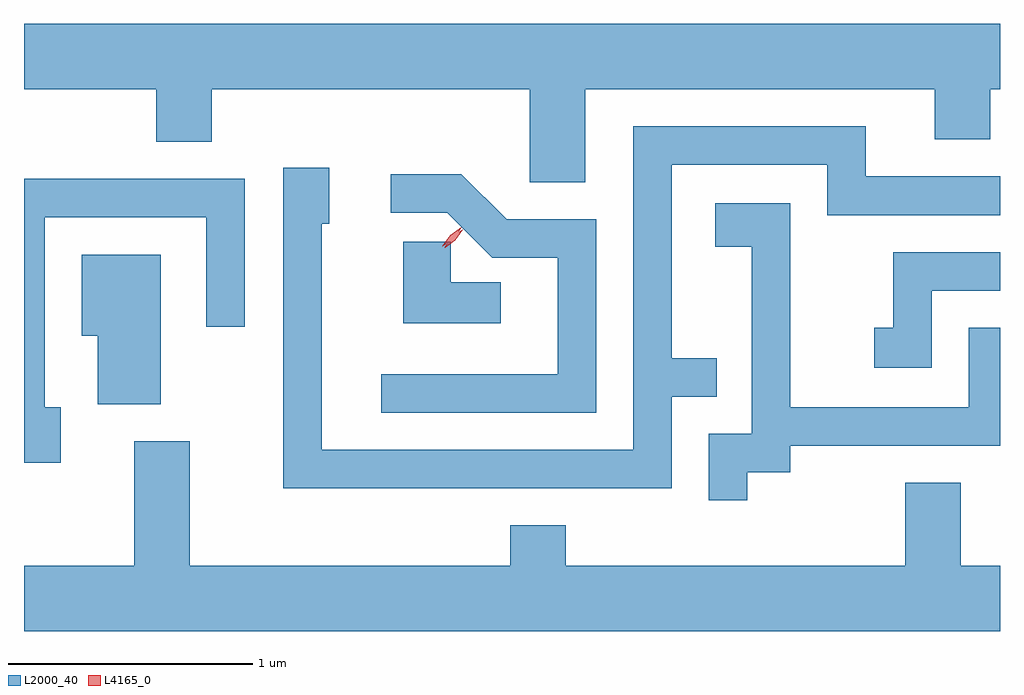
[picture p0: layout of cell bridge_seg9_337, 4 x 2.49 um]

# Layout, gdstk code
import gdstk
lib = gdstk.Library(unit=1e-6, precision=1e-09)
def P(c, l, *ps):  # polygons
    for p in ps: c.add(gdstk.Polygon(p, *l))
L2000_40 = (2000, 40)
L4165_0 = (4165, 0)

bridge_seg9_337 = lib.new_cell('bridge_seg9_337')
P(bridge_seg9_337, L2000_40, [(849.989,1982.936),(851.421,1982.936),(851.421,1982.731),(851.649,1982.731),(851.649,1982.936),(851.689,1982.936),(851.689,1983.204),(847.689,1983.204),(847.689,1982.936),(848.231,1982.936),(848.231,1982.721),(848.459,1982.721),(848.459,1982.936),(849.761,1982.936),(849.761,1982.556),(849.989,1982.556)],
  [(850.344,1981.676),(850.528,1981.676),(850.528,1981.834),(850.344,1981.834),(850.344,1982.626),(850.981,1982.626),(850.981,1982.421),(851.689,1982.421),(851.689,1982.579),(851.139,1982.579),(851.139,1982.784),(850.186,1982.784),(850.186,1981.459),(848.909,1981.459),(848.909,1982.386),(848.939,1982.386),(848.939,1982.614),(848.751,1982.614),(848.751,1981.301),(850.344,1981.301)],
  [(850.034,1982.404),(849.667,1982.404),(849.482,1982.589),(849.193,1982.589),(849.193,1982.431),(849.423,1982.431),(849.608,1982.246),(849.876,1982.246),(849.876,1981.769),(849.153,1981.769),(849.153,1981.611),(850.034,1981.611)],
  [(847.839,1981.634),(847.774,1981.634),(847.774,1982.411),(848.436,1982.411),(848.436,1981.963),(848.594,1981.963),(848.594,1982.569),(847.689,1982.569),(847.689,1981.406),(847.839,1981.406)],
  [(850.654,1981.366),(850.829,1981.366),(850.829,1981.476),(851.689,1981.476),(851.689,1981.959),(851.561,1981.959),(851.561,1981.634),(850.829,1981.634),(850.829,1982.469),(850.521,1982.469),(850.521,1982.291),(850.671,1982.291),(850.671,1981.524),(850.496,1981.524),(850.496,1981.253),(850.654,1981.253)],
  [(849.642,1982.146),(849.438,1982.146),(849.438,1982.312),(849.244,1982.312),(849.244,1981.978),(849.642,1981.978)],
  [(851.409,1982.111),(851.689,1982.111),(851.689,1982.269),(851.251,1982.269),(851.251,1981.959),(851.173,1981.959),(851.173,1981.796),(851.409,1981.796)],
  [(848.249,1982.259),(847.926,1982.259),(847.926,1981.926),(847.991,1981.926),(847.991,1981.646),(848.249,1981.646)],
  [(851.689,1980.984),(851.529,1980.984),(851.529,1981.324),(851.301,1981.324),(851.301,1980.984),(849.909,1980.984),(849.909,1981.149),(849.681,1981.149),(849.681,1980.984),(848.369,1980.984),(848.369,1981.494),(848.141,1981.494),(848.141,1980.984),(847.689,1980.984),(847.689,1980.716),(851.689,1980.716)])
P(bridge_seg9_337, L4165_0, [(849.404,1982.293),(849.404,1982.293),(849.435,1982.338),(849.48,1982.37),(849.48,1982.37),(849.48,1982.369),(849.45,1982.324),(849.405,1982.293)],
  [(849.414,1982.287),(849.414,1982.288),(849.443,1982.331),(849.486,1982.36),(849.487,1982.36),(849.487,1982.36),(849.457,1982.317),(849.415,1982.287)])

lib.write_gds('bridge_seg9_337.gds')
